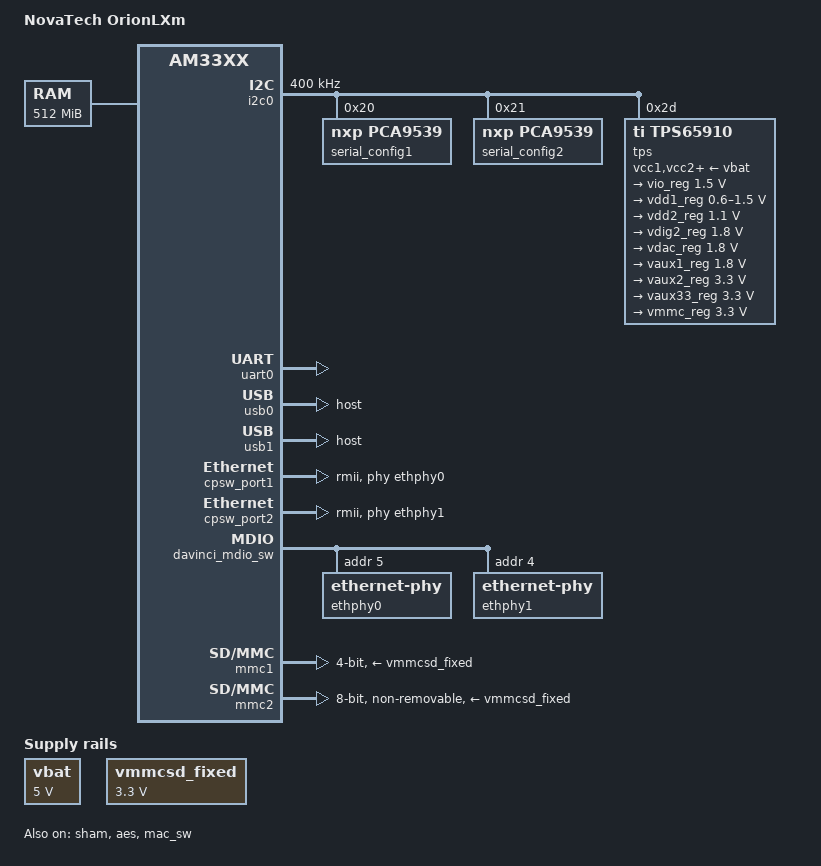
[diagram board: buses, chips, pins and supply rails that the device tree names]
// SPDX-License-Identifier: GPL-2.0-only
/*
 * Copyright (C) 2014 NovaTech LLC - https://www.novatechweb.com
 */
/dts-v1/;

#include "am33xx.dtsi"

/ {
	model = "NovaTech OrionLXm";
	compatible = "novatech,am335x-lxm", "ti,am33xx";

	cpus {
		cpu@0 {
			cpu0-supply = <&vdd1_reg>;
		};
	};

	memory@80000000 {
		device_type = "memory";
		reg = <0x80000000 0x20000000>; /* 512 MB */
	};

	/* Power supply provides a fixed 5V @2A */
	vbat: fixedregulator0 {
		compatible = "regulator-fixed";
		regulator-name = "vbat";
		regulator-min-microvolt = <5000000>;
		regulator-max-microvolt = <5000000>;
		regulator-boot-on;
	};

	/* Power supply provides a fixed 3.3V @3A */
	vmmcsd_fixed: fixedregulator1 {
		compatible = "regulator-fixed";
		regulator-name = "vmmcsd_fixed";
		regulator-min-microvolt = <3300000>;
		regulator-max-microvolt = <3300000>;
		regulator-boot-on;
	};
};

&am33xx_pinmux {
	mmc1_pins: pinmux_mmc1_pins {
		pinctrl-single,pins = <
			AM33XX_PADCONF(AM335X_PIN_MMC0_DAT3, PIN_INPUT_PULLUP, MUX_MODE0)
			AM33XX_PADCONF(AM335X_PIN_MMC0_DAT2, PIN_INPUT_PULLUP, MUX_MODE0)
			AM33XX_PADCONF(AM335X_PIN_MMC0_DAT1, PIN_INPUT_PULLUP, MUX_MODE0)
			AM33XX_PADCONF(AM335X_PIN_MMC0_DAT0, PIN_INPUT_PULLUP, MUX_MODE0)
			AM33XX_PADCONF(AM335X_PIN_MMC0_CLK, PIN_INPUT_PULLUP, MUX_MODE0)
			AM33XX_PADCONF(AM335X_PIN_MMC0_CMD, PIN_INPUT_PULLUP, MUX_MODE0)
		>;
	};

	i2c0_pins: pinmux_i2c0_pins {
		pinctrl-single,pins = <
			AM33XX_PADCONF(AM335X_PIN_I2C0_SDA, PIN_INPUT, MUX_MODE0)
			AM33XX_PADCONF(AM335X_PIN_I2C0_SCL, PIN_INPUT, MUX_MODE0)
		>;
	};

	cpsw_default: cpsw_default {
		pinctrl-single,pins = <
			/* Slave 1 */
			AM33XX_PADCONF(AM335X_PIN_GPMC_A9, PIN_INPUT_PULLDOWN, MUX_MODE7)	/* rmii1_int */
			AM33XX_PADCONF(AM335X_PIN_MII1_CRS, PIN_INPUT_PULLDOWN, MUX_MODE1)	/* rmii1_crs_dv */
			AM33XX_PADCONF(AM335X_PIN_MII1_RX_ER, PIN_INPUT_PULLDOWN, MUX_MODE1)	/* rmii1_rxer */
			AM33XX_PADCONF(AM335X_PIN_MII1_TX_EN, PIN_OUTPUT_PULLDOWN, MUX_MODE1)	/* rmii1_txen */
			AM33XX_PADCONF(AM335X_PIN_MII1_TXD1, PIN_OUTPUT_PULLDOWN, MUX_MODE1)	/* rmii1_td1 */
			AM33XX_PADCONF(AM335X_PIN_MII1_TXD0, PIN_OUTPUT_PULLDOWN, MUX_MODE1)	/* rmii1_td0 */
			AM33XX_PADCONF(AM335X_PIN_MII1_RXD1, PIN_INPUT_PULLDOWN, MUX_MODE1)	/* rmii1_rd1 */
			AM33XX_PADCONF(AM335X_PIN_MII1_RXD0, PIN_INPUT_PULLDOWN, MUX_MODE1)	/* rmii1_rd0 */
			AM33XX_PADCONF(AM335X_PIN_RMII1_REF_CLK, PIN_INPUT_PULLDOWN, MUX_MODE0)

			/* Slave 2 */
			AM33XX_PADCONF(AM335X_PIN_GPMC_A0, PIN_OUTPUT_PULLDOWN, MUX_MODE3)	/* rmii2_txen */
			AM33XX_PADCONF(AM335X_PIN_GPMC_A4, PIN_OUTPUT_PULLDOWN, MUX_MODE3)	/* rmii2_td1 */
			AM33XX_PADCONF(AM335X_PIN_GPMC_A5, PIN_OUTPUT_PULLDOWN, MUX_MODE3)	/* rmii2_td0 */
			AM33XX_PADCONF(AM335X_PIN_GPMC_A10, PIN_INPUT_PULLDOWN, MUX_MODE3)	/* rmii2_rd1 */
			AM33XX_PADCONF(AM335X_PIN_GPMC_A11, PIN_INPUT_PULLDOWN, MUX_MODE3)	/* rmii2_rd0 */
			AM33XX_PADCONF(AM335X_PIN_GPMC_WAIT0, PIN_INPUT_PULLDOWN, MUX_MODE3)	/* rmii2_crs_dv */
			AM33XX_PADCONF(AM335X_PIN_GPMC_WPN, PIN_INPUT_PULLDOWN, MUX_MODE3)	/* rmii2_rxer */
			AM33XX_PADCONF(AM335X_PIN_GPMC_BEN1, PIN_INPUT_PULLDOWN, MUX_MODE7)	/* rmii2_int */
			AM33XX_PADCONF(AM335X_PIN_MII1_COL, PIN_INPUT_PULLDOWN, MUX_MODE1)	/* rmii2_refclk */
		>;
	};

	cpsw_sleep: cpsw_sleep {
		pinctrl-single,pins = <
			/* Slave 1 reset value */
			AM33XX_PADCONF(AM335X_PIN_GPMC_A9, PIN_INPUT_PULLDOWN, MUX_MODE7)	/* rmii1_int */
			AM33XX_PADCONF(AM335X_PIN_MII1_CRS, PIN_INPUT_PULLDOWN, MUX_MODE7)	/* rmii1_crs_dv */
			AM33XX_PADCONF(AM335X_PIN_MII1_RX_ER, PIN_INPUT_PULLDOWN, MUX_MODE7)	/* rmii1_rxer */
			AM33XX_PADCONF(AM335X_PIN_MII1_TX_EN, PIN_INPUT_PULLDOWN, MUX_MODE7)	/* rmii1_txen */
			AM33XX_PADCONF(AM335X_PIN_MII1_TXD1, PIN_INPUT_PULLDOWN, MUX_MODE7)	/* rmii1_td1 */
			AM33XX_PADCONF(AM335X_PIN_MII1_TXD0, PIN_INPUT_PULLDOWN, MUX_MODE7)	/* rmii1_td0 */
			AM33XX_PADCONF(AM335X_PIN_MII1_RXD1, PIN_INPUT_PULLDOWN, MUX_MODE7)	/* rmii1_rd1 */
			AM33XX_PADCONF(AM335X_PIN_MII1_RXD0, PIN_INPUT_PULLDOWN, MUX_MODE7)	/* rmii1_rd0 */
			AM33XX_PADCONF(AM335X_PIN_RMII1_REF_CLK, PIN_INPUT_PULLDOWN, MUX_MODE7)	/* rmii1_refclk */

			/* Slave 2 reset value*/
			AM33XX_PADCONF(AM335X_PIN_GPMC_A0, PIN_INPUT_PULLDOWN, MUX_MODE7)	/* rmii2_txen */
			AM33XX_PADCONF(AM335X_PIN_GPMC_A4, PIN_INPUT_PULLDOWN, MUX_MODE7)	/* rmii2_td1 */
			AM33XX_PADCONF(AM335X_PIN_GPMC_A5, PIN_INPUT_PULLDOWN, MUX_MODE7)	/* rmii2_td0 */
			AM33XX_PADCONF(AM335X_PIN_GPMC_A10, PIN_INPUT_PULLDOWN, MUX_MODE7)	/* rmii2_rd1 */
			AM33XX_PADCONF(AM335X_PIN_GPMC_A11, PIN_INPUT_PULLDOWN, MUX_MODE7)	/* rmii2_rd0 */
			AM33XX_PADCONF(AM335X_PIN_GPMC_WAIT0, PIN_INPUT_PULLDOWN, MUX_MODE7)	/* rmii2_crs_dv */
			AM33XX_PADCONF(AM335X_PIN_GPMC_WPN, PIN_INPUT_PULLDOWN, MUX_MODE7)	/* rmii2_rxer */
			AM33XX_PADCONF(AM335X_PIN_GPMC_BEN1, PIN_INPUT_PULLDOWN, MUX_MODE7)	/* rmii2_int */
			AM33XX_PADCONF(AM335X_PIN_MII1_COL, PIN_INPUT_PULLDOWN, MUX_MODE7)	/* rmii2_refclk */
		>;
	};

	davinci_mdio_default: davinci_mdio_default {
		pinctrl-single,pins = <
			/* MDIO */
			AM33XX_PADCONF(AM335X_PIN_MDIO, PIN_INPUT_PULLUP | SLEWCTRL_FAST, MUX_MODE0)
			AM33XX_PADCONF(AM335X_PIN_MDC, PIN_OUTPUT_PULLUP, MUX_MODE0)
		>;
	};

	davinci_mdio_sleep: davinci_mdio_sleep {
		pinctrl-single,pins = <
			/* MDIO reset value */
			AM33XX_PADCONF(AM335X_PIN_MDIO, PIN_INPUT_PULLDOWN, MUX_MODE7)
			AM33XX_PADCONF(AM335X_PIN_MDC, PIN_INPUT_PULLDOWN, MUX_MODE7)
		>;
	};

	emmc_pins: pinmux_emmc_pins {
		pinctrl-single,pins = <
			AM33XX_PADCONF(AM335X_PIN_GPMC_CSN1, PIN_INPUT_PULLUP, MUX_MODE2) /* gpmc_csn1.mmc1_clk */
			AM33XX_PADCONF(AM335X_PIN_GPMC_CSN2, PIN_INPUT_PULLUP, MUX_MODE2) /* gpmc_csn2.mmc1_cmd */
			AM33XX_PADCONF(AM335X_PIN_GPMC_AD0, PIN_INPUT_PULLUP, MUX_MODE1) /* gpmc_ad0.mmc1_dat0 */
			AM33XX_PADCONF(AM335X_PIN_GPMC_AD1, PIN_INPUT_PULLUP, MUX_MODE1) /* gpmc_ad1.mmc1_dat1 */
			AM33XX_PADCONF(AM335X_PIN_GPMC_AD2, PIN_INPUT_PULLUP, MUX_MODE1) /* gpmc_ad2.mmc1_dat2 */
			AM33XX_PADCONF(AM335X_PIN_GPMC_AD3, PIN_INPUT_PULLUP, MUX_MODE1) /* gpmc_ad3.mmc1_dat3 */
			AM33XX_PADCONF(AM335X_PIN_GPMC_AD4, PIN_INPUT_PULLUP, MUX_MODE1) /* gpmc_ad4.mmc1_dat4 */
			AM33XX_PADCONF(AM335X_PIN_GPMC_AD5, PIN_INPUT_PULLUP, MUX_MODE1) /* gpmc_ad5.mmc1_dat5 */
			AM33XX_PADCONF(AM335X_PIN_GPMC_AD6, PIN_INPUT_PULLUP, MUX_MODE1) /* gpmc_ad6.mmc1_dat6 */
			AM33XX_PADCONF(AM335X_PIN_GPMC_AD7, PIN_INPUT_PULLUP, MUX_MODE1) /* gpmc_ad7.mmc1_dat7 */
		>;
	};

	uart0_pins: pinmux_uart0_pins {
		pinctrl-single,pins = <
			AM33XX_PADCONF(AM335X_PIN_UART0_RXD, PIN_INPUT_PULLUP, MUX_MODE0)
			AM33XX_PADCONF(AM335X_PIN_UART0_TXD, PIN_OUTPUT_PULLDOWN, MUX_MODE0)
		>;
	};
};

&i2c0 {
	pinctrl-names = "default";
	pinctrl-0 = <&i2c0_pins>;

	status = "okay";
	clock-frequency = <400000>;

	serial_config1: serial_config1@20 {
		compatible = "nxp,pca9539";
		reg = <0x20>;
		gpio-controller;
		#gpio-cells = <2>;
	};

	serial_config2: serial_config2@21 {
		compatible = "nxp,pca9539";
		reg = <0x21>;
		gpio-controller;
		#gpio-cells = <2>;
	};

	tps: tps@2d {
		compatible = "ti,tps65910";
		reg = <0x2d>;
	};
};

/include/ "tps65910.dtsi"

&tps {
	vcc1-supply = <&vbat>;
	vcc2-supply = <&vbat>;
	vcc3-supply = <&vbat>;
	vcc4-supply = <&vbat>;
	vcc5-supply = <&vbat>;
	vcc6-supply = <&vbat>;
	vcc7-supply = <&vbat>;
	vccio-supply = <&vbat>;

	regulators {
		/* vrtc - unused */

		vio_reg: regulator@1 {
			regulator-name = "vio_1v5,ddr";
			regulator-min-microvolt = <1500000>;
			regulator-max-microvolt = <1500000>;
			regulator-boot-on;
			regulator-always-on;
		};

		vdd1_reg: regulator@2 {
			regulator-name = "vdd1,mpu";
			regulator-min-microvolt = <600000>;
			regulator-max-microvolt = <1500000>;
			regulator-boot-on;
			regulator-always-on;
		};

		vdd2_reg: regulator@3 {
			regulator-name = "vdd2_1v1,core";
			regulator-min-microvolt = <1100000>;
			regulator-max-microvolt = <1100000>;
			regulator-boot-on;
			regulator-always-on;
		};

		/* vdd3 - unused */

		/* vdig1 - unused */

		vdig2_reg: regulator@6 {
			regulator-name = "vdig2_1v8,vdds_pll";
			regulator-min-microvolt = <1800000>;
			regulator-max-microvolt = <1800000>;
			regulator-boot-on;
			regulator-always-on;
		};

		/* vpll - unused */

		vdac_reg: regulator@8 {
			regulator-name = "vdac_1v8,vdds";
			regulator-min-microvolt = <1800000>;
			regulator-max-microvolt = <1800000>;
			regulator-boot-on;
			regulator-always-on;
		};

		vaux1_reg: regulator@9 {
			regulator-name = "vaux1_1v8,usb";
			regulator-min-microvolt = <1800000>;
			regulator-max-microvolt = <1800000>;
			regulator-boot-on;
			regulator-always-on;
		};

		vaux2_reg: regulator@10 {
			regulator-name = "vaux2_3v3,io";
			regulator-min-microvolt = <3300000>;
			regulator-max-microvolt = <3300000>;
			regulator-boot-on;
			regulator-always-on;
		};

		vaux33_reg: regulator@11 {
			regulator-name = "vaux33_3v3,usb";
			regulator-min-microvolt = <3300000>;
			regulator-max-microvolt = <3300000>;
			regulator-boot-on;
			regulator-always-on;
		};

		vmmc_reg: regulator@12 {
			regulator-name = "vmmc_3v3,io";
			regulator-min-microvolt = <3300000>;
			regulator-max-microvolt = <3300000>;
			regulator-boot-on;
			regulator-always-on;
		};
	};
};

&sham {
	status = "okay";
};

&aes {
	status = "okay";
};

&uart0 {
	pinctrl-names = "default";
	pinctrl-0 = <&uart0_pins>;

	status = "okay";
};

&usb0 {
	dr_mode = "host";
};

&usb1 {
	dr_mode = "host";
};

&cpsw_port1 {
	phy-handle = <&ethphy0>;
	phy-mode = "rmii";
	ti,dual-emac-pvid = <2>;
};

&cpsw_port2 {
	phy-handle = <&ethphy1>;
	phy-mode = "rmii";
	ti,dual-emac-pvid = <3>;
};

&mac_sw {
	pinctrl-names = "default", "sleep";
	pinctrl-0 = <&cpsw_default>;
	pinctrl-1 = <&cpsw_sleep>;
	status = "okay";
};

&davinci_mdio_sw {
	pinctrl-names = "default", "sleep";
	pinctrl-0 = <&davinci_mdio_default>;
	pinctrl-1 = <&davinci_mdio_sleep>;

	ethphy0: ethernet-phy@5 {
		reg = <5>;
	};

	ethphy1: ethernet-phy@4 {
		reg = <4>;
	};
};

&mmc1 {
	pinctrl-names = "default";
	pinctrl-0 = <&mmc1_pins>;
	vmmc-supply = <&vmmcsd_fixed>;
	bus-width = <4>;
	status = "okay";
};

&mmc2 {
	pinctrl-names = "default";
	pinctrl-0 = <&emmc_pins>;
	vmmc-supply = <&vmmcsd_fixed>;
	bus-width = <8>;
	non-removable;
	status = "okay";
};

